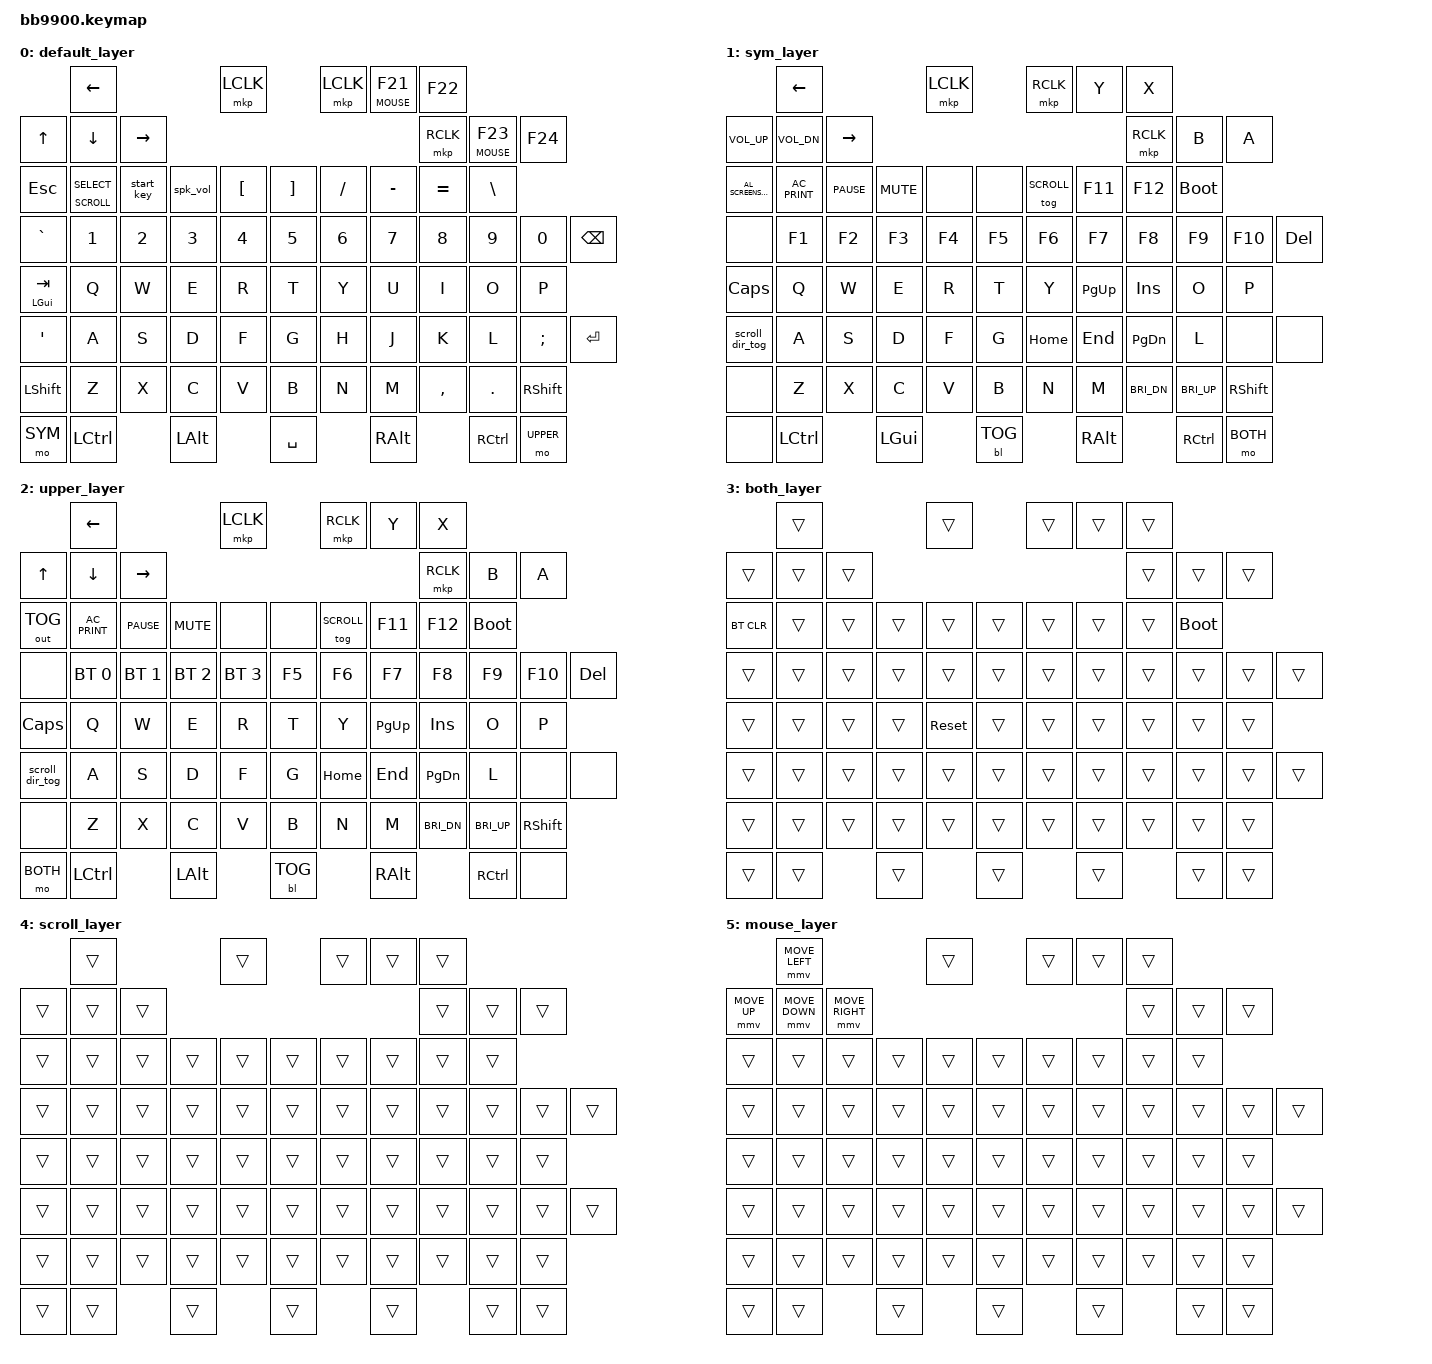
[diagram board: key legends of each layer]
/*
 * uc9900 (uConsole Trackpad Keyboard) keymap for uConsole-tweaks, on ZMK v0.3.0.
 * Derived from the vendor keymap (Bill-lulu/uc9900 V2.0, MIT).
 *
 * Changes from the vendor keymap:
 *   - Select: tap = gamepad Select (K_SELECT), hold = scroll with the trackpad.
 *     Caps Lock (Fn+Tab) also puts the trackpad into scroll mode, as before.
 *   - Fn + / switches scroll mode on and off; Fn + ' flips the scroll direction
 *     (natural / inverted) and remembers it.
 *   - Hold Y or B and the D-pad moves the pointer; a tap still sends F21 / F23.
 *   - Start: tap = Play, hold = Super. Left Alt + Right Alt + Start = bootloader.
 *   - Tab: tap = Tab, hold = Super (what the keyd config did on the host).
 *   - Speaker: Volume Down; Shift+Speaker = Volume Up; Fn+Speaker = Mute.
 *   - Right Alt and Right Ctrl work under both Fn keys (they were unbound).
 *   - Fn+Start sends Pause (vendor bound a consumer code to the mouse-button behavior).
 *   - Right Fn + Esc toggles the output between USB and the selected Bluetooth
 *     profile; clearing bonds moved to both Fn keys + Esc so it can't be hit by accident.
 *   - Both Fn keys + R restarts the keyboard (was right Fn + left Fn).
 *
 * ZMK combos are deliberately not used: on this board they break the Enter key.
 *
 * Key positions (74 keys):
 *    0 Left   1 L-btn   2 Trackpad press   3 Y   4 X
 *    5 Up     6 Down    7 Right   8 R-btn   9 B  10 A
 *   11 Esc   12 Select  13 Start  14 Speaker  15 [  16 ]  17 /  18 -  19 =  20 backslash
 *   21 `     22-31 1..0  32 Backspace
 *   33 Tab   34-43 Q..P
 *   44 '     45-54 A..;  55 Enter
 *   56 LShift  57-65 Z../.  66 RShift
 *   67 Fn-L  68 LCtrl  69 LAlt  70 Space  71 RAlt  72 RCtrl  73 Fn-R
 */

#include <behaviors.dtsi>
#include <input/processors.dtsi>
#include <dt-bindings/zmk/keys.h>
#include <dt-bindings/zmk/bt.h>
#include <dt-bindings/zmk/outputs.h>
#include <dt-bindings/zmk/pointing.h>
#include <dt-bindings/zmk/input_transform.h>
#include <dt-bindings/zmk/backlight.h>
#include <dt-bindings/zmk/ext_power.h>

#define BASE   0
#define SYM    1   // left Fn
#define UPPER  2   // right Fn
#define BOTH   3   // both Fn keys
#define SCROLL 4   // trackpad scrolls (keep CONFIG_UC9900_SCROLL_LAYER in step)
#define MOUSE  5   // D-pad moves the pointer

/* Scroll direction: a positive vertical wheel moves the content down and a
 * positive horizontal wheel moves it LEFT (evdev's "scroll right"), so the
 * horizontal axis is inverted to make the content follow the finger on both
 * axes. &scroll_dir (Fn+') then flips both together.
 *
 * Scroll speed: raw sensor units are multiplied by SCROLL_MUL/SCROLL_DIV before
 * the host's resolution multiplier (16 units per notch). 3/8 gives one notch
 * per ~43 sensor units, the same as the zmk-cursor-scroll daemon's 64 pointer
 * pixels. */
#define SCROLL_MUL 3
#define SCROLL_DIV 8

&trackpad_listener {
    scroller {
        layers = <SCROLL>;
        input-processors = <&zip_xy_transform INPUT_TRANSFORM_XY_SWAP>,
                           <&zip_xy_to_scroll_mapper>,
                           <&zip_scroll_transform INPUT_TRANSFORM_X_INVERT>,
                           <&scroll_dir>,
                           <&zip_scroll_scaler SCROLL_MUL SCROLL_DIV>;
    };
};

/ {
    behaviors {
        // Select: hold = scroll layer from the moment it is pressed, release
        // within the term = a Select tap. A long hold sends no key at all.
        selscroll: select_scroll {
            compatible = "zmk,behavior-hold-tap";
            #binding-cells = <2>;
            flavor = "hold-preferred";
            tapping-term-ms = <200>;
            hold-while-undecided;
            bindings = <&mo>, <&kp>;
        };

        // Y / B: hold with a D-pad key = pointer movement; anything else = tap.
        dpadmouse: dpad_mouse {
            compatible = "zmk,behavior-hold-tap";
            #binding-cells = <2>;
            flavor = "hold-preferred";
            tapping-term-ms = <200>;
            hold-trigger-key-positions = <0 5 6 7>;
            bindings = <&mo>, <&kp>;
        };

        // Tab: tap = Tab, hold = Super. "balanced" also counts a hold when another
        // key is pressed and released while Tab is down, like keyd's overloadt2.
        tabgui: tab_super {
            compatible = "zmk,behavior-hold-tap";
            #binding-cells = <2>;
            flavor = "balanced";
            tapping-term-ms = <200>;
            quick-tap-ms = <150>;
            bindings = <&kp>, <&kp>;
        };

        // Start: tap = Play, hold = Super.
        startgui: start_super {
            compatible = "zmk,behavior-hold-tap";
            #binding-cells = <2>;
            flavor = "balanced";
            tapping-term-ms = <200>;
            quick-tap-ms = <150>;
            bindings = <&kp>, <&kp>;
        };

        // Start with both Alt keys held enters the bootloader. Two nested
        // mod-morphs stand in for a combo. Alt is kept so Alt+Start chords
        // still carry Alt.
        start_key: start_key {
            compatible = "zmk,behavior-mod-morph";
            #binding-cells = <0>;
            bindings = <&startgui LGUI C_PLAY>, <&start_ralt>;
            mods = <(MOD_LALT)>;
            keep-mods = <(MOD_LALT)>;
        };
        start_ralt: start_ralt {
            compatible = "zmk,behavior-mod-morph";
            #binding-cells = <0>;
            bindings = <&startgui LGUI C_PLAY>, <&bootloader>;
            mods = <(MOD_RALT)>;
            keep-mods = <(MOD_RALT)>;
        };

        // Speaker: Volume Down, Shift+Speaker = Volume Up.
        // A plain mod-morph is not enough: it masks Shift only in the keyboard
        // report, and a consumer key never resends that report, so the host
        // kept seeing Shift+VolumeUp (verified by capture). The morphs pick the
        // Shift that is held and run a macro that releases it, taps Volume Up
        // and presses it again, which forces the keyboard report out.
        spk_vol: speaker_volume {
            compatible = "zmk,behavior-mod-morph";
            #binding-cells = <0>;
            bindings = <&spk_vol_r>, <&vol_up_lsft>;
            mods = <(MOD_LSFT)>;
        };
        spk_vol_r: speaker_volume_rshift {
            compatible = "zmk,behavior-mod-morph";
            #binding-cells = <0>;
            bindings = <&kp C_VOL_DN>, <&vol_up_rsft>;
            mods = <(MOD_RSFT)>;
        };
        vol_up_lsft: vol_up_lsft {
            compatible = "zmk,behavior-macro";
            #binding-cells = <0>;
            wait-ms = <0>;
            tap-ms = <20>;
            bindings = <&macro_release &kp LSHFT>, <&macro_tap &kp C_VOL_UP>, <&macro_press &kp LSHFT>;
        };
        vol_up_rsft: vol_up_rsft {
            compatible = "zmk,behavior-macro";
            #binding-cells = <0>;
            wait-ms = <0>;
            tap-ms = <20>;
            bindings = <&macro_release &kp RSHFT>, <&macro_tap &kp C_VOL_UP>, <&macro_press &kp RSHFT>;
        };
    };

    keymap {
        compatible = "zmk,keymap";

        default_layer {
            bindings = <
            &kp LEFT                  &mkp LCLK      &mkp LCLK     &dpadmouse MOUSE F21   &kp F22
&kp UP   &kp DOWN  &kp RIGHT                        &mkp RCLK                 &dpadmouse MOUSE F23   &kp F24
&kp ESC    &selscroll SCROLL K_SELECT  &start_key   &spk_vol    &kp LBKT   &kp RBKT   &kp FSLH   &kp MINUS  &kp EQUAL  &kp BACKSLASH
&kp GRAVE  &kp N1   &kp N2   &kp N3   &kp N4   &kp N5   &kp N6   &kp N7   &kp N8     &kp N9   &kp N0  &kp BSPC
&tabgui LGUI TAB   &kp Q   &kp W   &kp E   &kp R   &kp T   &kp Y   &kp U   &kp I      &kp O    &kp P
&kp SQT    &kp A    &kp S    &kp D    &kp F    &kp G    &kp H    &kp J    &kp K      &kp L    &kp SEMICOLON  &kp ENTER
&kp LSHFT  &kp Z    &kp X    &kp C    &kp V    &kp B    &kp N    &kp M    &kp COMMA  &kp DOT  &kp RSHFT
  &mo SYM  &kp LCTRL         &kp LALT          &kp SPACE         &kp RALT       &kp RCTRL   &mo UPPER
            >;
        };

        // Left Fn
        sym_layer {
            bindings = <
            &kp LEFT                  &mkp LCLK      &mkp RCLK     &kp Y       &kp X
&kp K_VOL_UP  &kp K_VOL_DN  &kp RIGHT                &mkp RCLK                 &kp B       &kp A
&kp C_AL_SCREENSAVER  &kp C_AC_PRINT  &kp C_PAUSE  &kp C_MUTE  &none  &none  &tog SCROLL  &kp F11  &kp F12  &bootloader
&none      &kp F1   &kp F2   &kp F3   &kp F4   &kp F5   &kp F6   &kp F7   &kp F8     &kp F9   &kp F10  &kp DEL
&kp CAPSLOCK  &kp Q  &kp W   &kp E    &kp R    &kp T    &kp Y    &kp PAGE_UP  &kp INSERT  &kp O  &kp P
&scroll_dir_tog  &kp A  &kp S  &kp D  &kp F    &kp G    &kp HOME &kp END  &kp PAGE_DOWN  &kp L  &none  &none
&none      &kp Z    &kp X    &kp C    &kp V    &kp B    &kp N    &kp M    &kp C_BRI_DN  &kp C_BRI_UP  &kp RSHFT
  &none    &kp LCTRL         &kp LGUI          &bl BL_TOG        &kp RALT       &kp RCTRL   &mo BOTH
            >;
        };

        // Right Fn
        upper_layer {
            bindings = <
            &kp LEFT                  &mkp LCLK      &mkp RCLK     &kp Y       &kp X
&kp UP   &kp DOWN  &kp RIGHT                        &mkp RCLK                 &kp B       &kp A
&out OUT_TOG  &kp C_AC_PRINT  &kp C_PAUSE  &kp C_MUTE  &none  &none  &tog SCROLL  &kp F11  &kp F12  &bootloader
&none      &bt BT_SEL 0  &bt BT_SEL 1  &bt BT_SEL 2  &bt BT_SEL 3  &kp F5  &kp F6  &kp F7  &kp F8  &kp F9  &kp F10  &kp DEL
&kp CAPSLOCK  &kp Q  &kp W   &kp E    &kp R    &kp T    &kp Y    &kp PAGE_UP  &kp INSERT  &kp O  &kp P
&scroll_dir_tog  &kp A  &kp S  &kp D  &kp F    &kp G    &kp HOME &kp END  &kp PAGE_DOWN  &kp L  &none  &none
&none      &kp Z    &kp X    &kp C    &kp V    &kp B    &kp N    &kp M    &kp C_BRI_DN  &kp C_BRI_UP  &kp RSHFT
  &mo BOTH &kp LCTRL         &kp LALT          &bl BL_TOG        &kp RALT       &kp RCTRL   &none
            >;
        };

        // Both Fn keys: the dangerous things. Everything else falls through.
        both_layer {
            bindings = <
            &trans                    &trans         &trans        &trans      &trans
&trans   &trans    &trans                           &trans                    &trans      &trans
&bt BT_CLR  &trans  &trans  &trans  &trans  &trans  &trans  &trans  &trans  &bootloader
&trans     &trans   &trans   &trans   &trans   &trans   &trans   &trans   &trans     &trans   &trans   &trans
&trans     &trans   &trans   &trans   &sys_reset  &trans  &trans  &trans  &trans    &trans   &trans
&trans     &trans   &trans   &trans   &trans   &trans   &trans   &trans   &trans     &trans   &trans   &trans
&trans     &trans   &trans   &trans   &trans   &trans   &trans   &trans   &trans     &trans   &trans
  &trans   &trans            &trans            &trans            &trans         &trans      &trans
            >;
        };

        // Trackpad scrolls (hold Select, Caps Lock on, or Fn+/). Keys are unchanged.
        scroll_layer {
            bindings = <
            &trans                    &trans         &trans        &trans      &trans
&trans   &trans    &trans                           &trans                    &trans      &trans
&trans     &trans   &trans   &trans   &trans   &trans   &trans   &trans   &trans     &trans
&trans     &trans   &trans   &trans   &trans   &trans   &trans   &trans   &trans     &trans   &trans   &trans
&trans     &trans   &trans   &trans   &trans   &trans   &trans   &trans   &trans     &trans   &trans
&trans     &trans   &trans   &trans   &trans   &trans   &trans   &trans   &trans     &trans   &trans   &trans
&trans     &trans   &trans   &trans   &trans   &trans   &trans   &trans   &trans     &trans   &trans
  &trans   &trans            &trans            &trans            &trans         &trans      &trans
            >;
        };

        // Y or B held: the D-pad moves the pointer.
        mouse_layer {
            bindings = <
            &mmv MOVE_LEFT            &trans         &trans        &trans      &trans
&mmv MOVE_UP  &mmv MOVE_DOWN  &mmv MOVE_RIGHT          &trans                    &trans      &trans
&trans     &trans   &trans   &trans   &trans   &trans   &trans   &trans   &trans     &trans
&trans     &trans   &trans   &trans   &trans   &trans   &trans   &trans   &trans     &trans   &trans   &trans
&trans     &trans   &trans   &trans   &trans   &trans   &trans   &trans   &trans     &trans   &trans
&trans     &trans   &trans   &trans   &trans   &trans   &trans   &trans   &trans     &trans   &trans   &trans
&trans     &trans   &trans   &trans   &trans   &trans   &trans   &trans   &trans     &trans   &trans
  &trans   &trans            &trans            &trans            &trans         &trans      &trans
            >;
        };
    };
};
